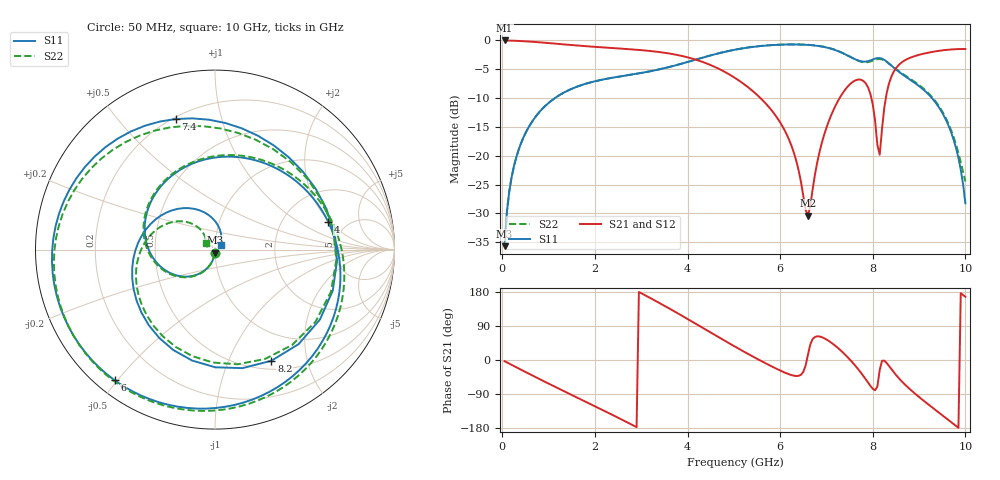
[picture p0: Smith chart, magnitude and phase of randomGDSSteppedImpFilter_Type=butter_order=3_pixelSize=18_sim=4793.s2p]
! freq	dB(S11)	phase(S11)	dB(S12)	phase(S12)
!  dB(S21)	phase(S21)	dB(S22)	phase(S22)
!S-par simulation data
#  GHz  S  DB  R 50
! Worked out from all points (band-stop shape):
!   200 points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, 50 MHz to 10 GHz, reference 50 ohm
!   highest |S21| = -0.01 dB at 50 MHz (marker M1); lowest = -30.4 dB at 6.6 GHz (marker M2)
!   |S21| within 3 dB of the highest: start of sweep to 4.036 GHz; 8.807 GHz to end of sweep
!   lowest |S11| = -35.7 dB at 50 MHz (marker M3), VSWR 1.03, Z = 49.9 - j1.64 ohm
!   |S11| at or under -10 dB: start of sweep to 1.137 GHz; 9.277 GHz to end of sweep
!   |S22| runs from -35.7 to -0.7 dB; largest |S21 - S12| = 0
!   S11 on the Smith chart (normalised r, x): 50 MHz: 1.00, -0.03; 4 GHz: 3.63, +1.93; 6 GHz: 0.05, -0.49; 7.4 GHz: 0.21, +0.72; 8.2 GHz: 0.61, -1.45; 10 GHz: 1.06, +0.05
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0.05  -35.69 -92.8  -0.01 -3.2  -0.01 -3.2  -35.69 -92.8
0.2  -23.78 -103.0  -0.04 -12.8  -0.04 -12.8  -23.78 -102.7
0.5  -16.10 -122.5  -0.15 -31.6  -0.15 -31.6  -16.10 -121.6
1.1  -10.21 -160.0  -0.53 -68.4  -0.53 -68.4  -10.21 -158.0
1.75  -7.64 160.6  -0.97 -107.2  -0.97 -107.2  -7.64 163.9
2.65  -6.11 105.1  -1.47 -161.5  -1.47 -161.5  -6.11 110.7
3.4  -5.00 55.7  -2.03 149.9  -2.03 149.9  -5.00 63.0
4  -3.74 13.7  -2.93 108.3  -2.93 108.3  -3.74 21.8
5.05  -1.57 -61.9  -6.64 33.5  -6.64 33.5  -1.56 -53.2
6  -0.74 -127.5  -14.22 -27.7  -14.22 -27.7  -0.72 -117.4
6.6  -0.78 -171.6  -30.42 13.8  -30.42 13.8  -0.76 -159.6
6.7  -0.85 -179.9  -25.92 55.1  -25.92 55.1  -0.82 -167.4
7.4  -2.39 106.6  -8.58 14.5  -8.58 14.5  -2.37 123.4
7.7  -3.52 60.7  -6.78 -26.6  -6.78 -26.6  -3.57 78.9
7.95  -3.47 7.8  -9.32 -68.5  -9.32 -68.5  -3.65 24.1
8.15  -3.06 -48.5  -19.83 -26.4  -19.83 -26.4  -3.23 -35.7
8.2  -3.17 -63.1  -15.31 -2.0  -15.31 -2.0  -3.30 -51.0
8.35  -4.00 -101.7  -7.48 -15.8  -7.48 -15.8  -4.02 -91.1
8.65  -5.95 -154.1  -3.66 -59.4  -3.66 -59.4  -5.82 -142.8
9.1  -8.57 153.5  -2.30 -107.6  -2.30 -107.6  -8.38 170.8
9.7  -16.12 89.1  -1.56 -164.7  -1.56 -164.7  -15.75 128.0
10  -28.27 36.7  -1.49 166.7  -1.49 166.7  -24.46 142.9
